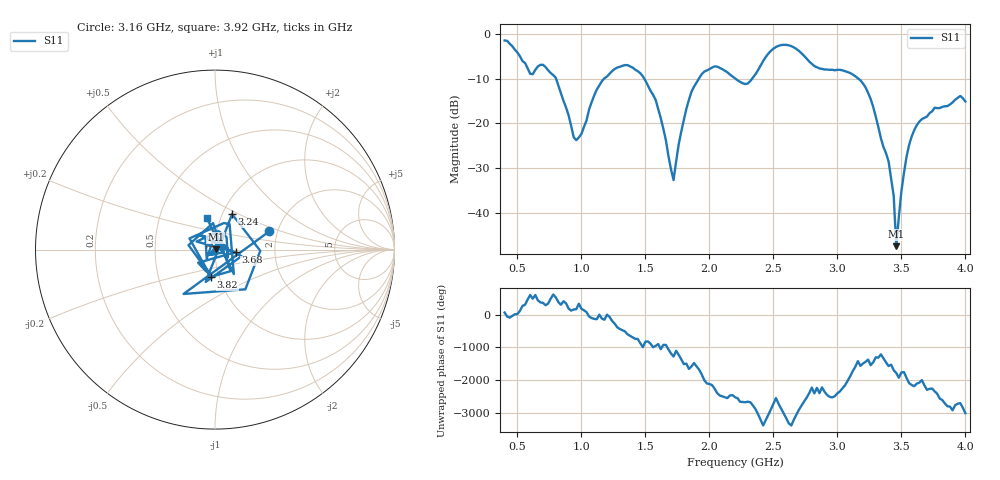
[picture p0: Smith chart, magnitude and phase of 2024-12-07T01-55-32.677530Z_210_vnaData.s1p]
!Created with skrf (http://scikit-rf.org).
# Hz S RI R 50.0
!freq ReS11 ImS11
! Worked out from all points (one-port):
!   181 points, 400 MHz to 4 GHz, reference 50 ohm
!   lowest |S11| = -47.4 dB at 3.46 GHz (marker M1), VSWR 1.01, Z = 50.4 + j0.111 ohm
!   |S11| at or under -10 dB: 802.1 MHz to 1.177 GHz (375.1 MHz wide, 37.9 % of centre); 1.491 GHz to 1.918 GHz (426.7 MHz wide, 25 % of centre); 3.163 GHz to end of sweep (the widest 3 of 4)
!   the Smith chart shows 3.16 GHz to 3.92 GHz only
!   S11 on the Smith chart (normalised r, x): 3.16 GHz: 1.81, +0.41; 3.24 GHz: 1.11, +0.46; 3.68 GHz: 1.26, -0.04; 3.82 GHz: 0.91, -0.28; 3.92 GHz: 0.86, +0.32
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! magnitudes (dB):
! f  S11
! 400 MHz  -1.5
! 600 MHz  -8.9
! 720 MHz  -7.4
! 860 MHz  -15.0
! 960 MHz  -23.7
! 1.12 GHz  -12.5
! 1.3 GHz  -7.4
! 1.46 GHz  -8.8
! 1.58 GHz  -14.7
! 1.72 GHz  -32.6
! 1.76 GHz  -24.7
! 1.86 GHz  -12.9
! 1.94 GHz  -9.0
! 2.2 GHz  -10.0
! 2.3 GHz  -11.1
! 2.66 GHz  -3.0
! 3.1 GHz  -8.7
! 3.16 GHz  -9.9
! 3.24 GHz  -13.2
! 3.4 GHz  -28.5
! 3.44 GHz  -36.2
! 3.46 GHz  -47.4
! 3.5 GHz  -35.2
! 3.56 GHz  -24.8
! 3.68 GHz  -18.7
! 3.82 GHz  -16.3
! 3.92 GHz  -14.7
! 4 GHz  -15.1
